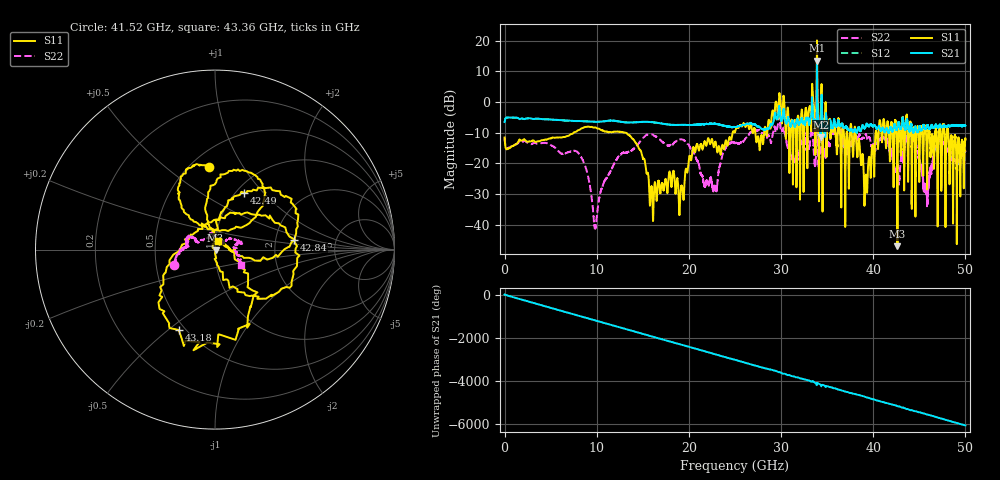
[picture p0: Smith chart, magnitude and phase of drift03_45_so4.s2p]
!Created with skrf (http://scikit-rf.org).
# Hz S RI R 50.0
!freq ReS11 ImS11 ReS21 ImS21 ReS12 ImS12 ReS22 ImS22
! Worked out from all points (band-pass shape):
!   10001 points, 300 kHz to 50 GHz, reference 50 ohm
!   highest |S21| = 13.40 dB at 33.9 GHz (marker M1); lowest = -11.4 dB at 34.32 GHz (marker M2)
!   |S21| within 3 dB of the highest: 33.8902 GHz to 33.90432 GHz (14.12 MHz wide, 0.0417 % of centre)
!   lowest |S11| = -46.9 dB at 42.63 GHz (marker M3), VSWR 1.01, Z = 50.3 - j0.349 ohm
!   |S11| at or under -10 dB: start of sweep to 7.487 GHz; 13.13 GHz to 24.74 GHz (11.62 GHz wide, 61.3 % of centre); 38.09 GHz to 40.25 GHz (2.161 GHz wide, 5.52 % of centre) (the widest 3 of 47)
!   |S22| runs from -41.3 to 5.8 dB; largest |S21 - S12| = 0.35
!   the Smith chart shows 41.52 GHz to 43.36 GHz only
!   S11 on the Smith chart (normalised r, x): 41.52 GHz: 0.62, +0.72; 42.49 GHz: 1.09, +0.79; 42.84 GHz: 2.55, +0.36; 43.18 GHz: 0.46, -0.54; 43.36 GHz: 1.03, +0.10
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300000  -0.2373 -0.1169  0.4664 0.0763  0.4661 0.0781  -0.2348 -0.123
1.440291e9  0.21 0.0648  -0.5477 -0.0294  -0.5481 -0.0294  0.2116 -0.00388
2.915283e9  -0.2123 -0.0879  0.5345 0.0518  0.5346 0.0514  -0.2023 0.0403
4.415274e9  0.2062 0.1324  -0.5214 -0.0428  -0.5223 -0.0422  0.1985 -0.0872
8.33525e9  0.2887 -0.2335  0.1457 0.4661  0.1458 0.4664  -0.0724 -0.1014
9.840241e9  -0.3648 0.1252  -0.1429 -0.4541  -0.1431 -0.4542  0.00867 0.00244
1.66702e10  0.0275 0.0439  -0.3789 0.2527  -0.3792 0.2529  -0.1273 -0.2199
2.500015e10  -0.3254 -0.0162  -0.2544 -0.2974  -0.2531 -0.2987  -0.212 0.0265
2.895513e10  -0.3269 0.4307  -0.2896 0.3241  -0.2984 0.2899  0.0652 0.2223
3.006512e10  0.3987 0.2662  0.4512 -0.1957  0.4545 -0.1816  0.1761 -0.2967
3.171011e10  -0.0919 0.1892  -0.361 0.3561  -0.364 0.3547  0.0657 0.1588
3.33351e10  0.6517 -0.8313  0.255 -0.8573  0.2567 -0.8369  -0.1946 -0.4265
3.38951e10  -2.397 -9.742  -4.615 0.7625  -4.316 0.9513  0.4866 1.893
3.432009e10  -0.7779 0.000401  -0.1817 0.1972  -0.243 0.1769  0.1437 -0.0711
4.151505e10  -0.0327 0.4581  0.3334 0.1254  0.3383 0.1295  -0.2306 -0.0871
4.167005e10  -0.1997 0.3066  0.3136 0.00536  0.3162 0.0112  -0.1949 -0.00588
4.248505e10  0.1614 0.317  0.0114 -0.3513  0.0118 -0.3535  -0.0286 0.0682
4.263004e10  0.00287 -0.00347  -0.1697 -0.3423  -0.164 -0.3461  -0.0229 0.0918
4.283504e10  0.4421 0.0558  -0.2524 -0.3203  -0.2523 -0.3252  0.0396 0.0377
4.317504e10  -0.202 -0.4479  -0.5137 0.08  -0.5215 0.0692  0.1454 0.0466
4.336004e10  0.0165 0.0477  -0.3694 0.1394  -0.3687 0.1397  0.1448 -0.0866
5e10  -0.1177 -0.2172  0.1426 0.3856  0.1423 0.3852  -0.0532 -0.1461
